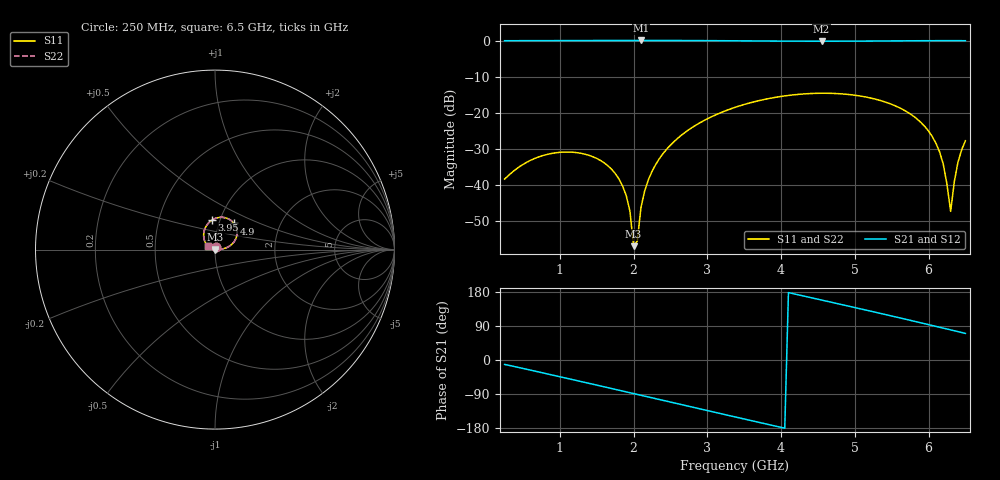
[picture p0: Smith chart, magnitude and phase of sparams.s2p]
! NobuRF kit-ro50-thru: ports 1 "p1", 2 "p2"; 2300 + 2300 steps
# GHz S RI R 50
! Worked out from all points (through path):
!   126 points, 250 MHz to 6.5 GHz, reference 50 ohm
!   highest |S21| = 0.01 dB at 2.1 GHz (marker M1); lowest = -0.2 dB at 4.55 GHz (marker M2)
!   group delay of S21, straight-line fit = 123 ps
!   lowest |S11| = -56.8 dB at 2 GHz (marker M3), VSWR 1.00, Z = 50.1 + j0.0242 ohm
!   |S11| at or under -10 dB: start of sweep to end of sweep
!   |S22| runs from -56.8 to -14.6 dB; largest |S21 - S12| = 2.8e-07
!   S11 on the Smith chart (normalised r, x): 250 MHz: 1.01, +0.02; 3.95 GHz: 0.92, +0.31; 4.9 GHz: 1.18, +0.35; 6.5 GHz: 0.93, +0.03
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0.25  0.00327 0.0117  0.9731 -0.2016  0.9731 -0.2016  0.00327 0.0117
0.75  0.0146 0.0207  0.8328 -0.5453  0.8328 -0.5453  0.0146 0.0207
1.3  0.0235 0.0142  0.5374 -0.8415  0.5374 -0.8415  0.0235 0.0142
1.8  0.0121 0.00213  0.1795 -0.9847  0.1795 -0.9847  0.0121 0.00213
1.95  0.00436 0.000417  0.0634 -0.9993  0.0634 -0.9993  0.00436 0.000417
2  0.00142 0.000241  0.0243 -1.001  0.0243 -1.001  0.00142 0.000241
2.05  -0.00168 0.000293  -0.0148 -1.001  -0.0148 -1.001  -0.00168 0.000293
2.1  -0.00492 0.000591  -0.0539 -1  -0.0539 -1  -0.00492 0.00059
2.2  -0.0117 0.00198  -0.1318 -0.9926  -0.1318 -0.9926  -0.0117 0.00198
2.35  -0.0225 0.00626  -0.2471 -0.97  -0.2471 -0.97  -0.0225 0.00626
2.75  -0.0494 0.0315  -0.5326 -0.8446  -0.5326 -0.8446  -0.0494 0.0315
3.4  -0.0598 0.1057  -0.8683 -0.476  -0.8683 -0.476  -0.0598 0.1057
3.95  -0.0162 0.1648  -0.9794 -0.076  -0.9794 -0.076  -0.0162 0.1648
4.45  0.0521 0.1784  -0.9334 0.2936  -0.9334 0.2936  0.0521 0.1784
4.55  0.0659 0.1747  -0.9082 0.3639  -0.9082 0.3639  0.0659 0.1747
4.9  0.106 0.1456  -0.7805 0.5923  -0.7805 0.5923  0.106 0.1456
5.5  0.1161 0.0608  -0.4346 0.8864  -0.4346 0.8864  0.1161 0.0608
6.05  0.0469 0.00514  -0.0183 0.9937  -0.0183 0.9937  0.0469 0.00514
6.2  0.0194 0.00239  0.1017 0.9894  0.1017 0.9894  0.0194 0.00239
6.3  0.000314 0.00434  0.1813 0.978  0.1813 0.978  0.000314 0.00434
6.4  -0.0187 0.00943  0.2598 0.9599  0.2598 0.9599  -0.0187 0.00943
6.5  -0.0372 0.0176  0.3366 0.935  0.3366 0.935  -0.0372 0.0176
